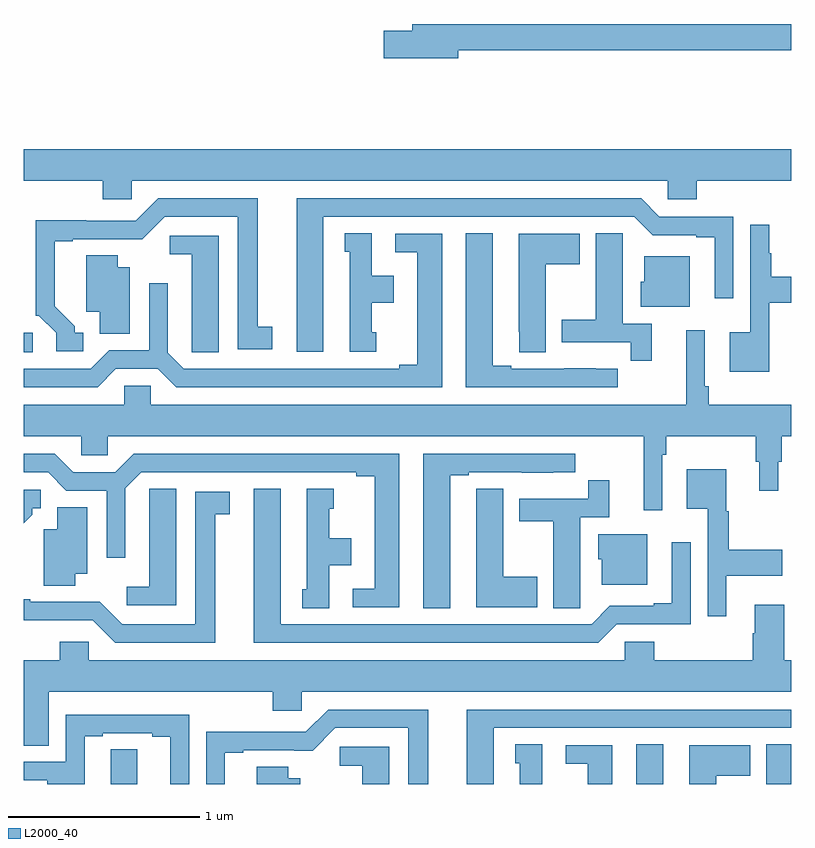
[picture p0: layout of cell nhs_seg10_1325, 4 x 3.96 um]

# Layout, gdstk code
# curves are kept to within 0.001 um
import gdstk
lib = gdstk.Library(unit=1e-6, precision=1e-09)
def R(c, l, rs):  # rectangles x0, y0, x1, y1
    for r in rs: c.add(gdstk.rectangle(r[:2], r[2:], *l))
def P(c, l, *ps):  # polygons
    for p in ps: c.add(gdstk.Polygon(p, *l))
L2000_40 = (2000, 40)

nhs_seg10_1325 = lib.new_cell('nhs_seg10_1325')
R(nhs_seg10_1325, L2000_40, [(182.192,1302.5,182.332,1302.707), (182.87,1302.5,183,1302.707), (179,1304.749,179.047,1304.85)])
P(nhs_seg10_1325, L2000_40, [(181.264,1306.324),(183,1306.324),(183,1306.46),(181.025,1306.46),(181.025,1306.424),(180.876,1306.424),(180.876,1306.282),(181.264,1306.282)],
  [(179.562,1305.644),(182.355,1305.644),(182.355,1305.546),(182.507,1305.546),(182.507,1305.644),(183,1305.644),(183,1305.808),(179,1305.808),(179,1305.644),(179.411,1305.644),(179.411,1305.546),(179.562,1305.546)],
  [(180.562,1305.456),(182.181,1305.456),(182.277,1305.36),(182.504,1305.36),(182.504,1305.348),(182.6,1305.348),(182.6,1305.03),(182.697,1305.03),(182.697,1305.456),(182.313,1305.456),(182.217,1305.552),(180.422,1305.552),(180.422,1304.751),(180.562,1304.751)],
  [(179.311,1304.85),(179.266,1304.85),(179.266,1304.885),(179.161,1304.99),(179.161,1305.327),(179.257,1305.327),(179.257,1305.339),(179.618,1305.338),(179.736,1305.456),(180.116,1305.456),(180.116,1304.766),(180.295,1304.766),(180.295,1304.882),(180.22,1304.882),(180.22,1305.552),(179.7,1305.552),(179.583,1305.435),(179.327,1305.435),(179.327,1305.437),(179.064,1305.437),(179.064,1304.94),(179.079,1304.94),(179.169,1304.85),(179.169,1304.754),(179.311,1304.754)],
  [(182.884,1305.008),(183,1305.008),(183,1305.142),(182.896,1305.142),(182.896,1305.266),(182.884,1305.266),(182.884,1305.415),(182.787,1305.415),(182.787,1304.854),(182.678,1304.854),(182.678,1304.648),(182.884,1304.648)],
  [(182.095,1304.664),(181.982,1304.664),(181.982,1304.665),(181.816,1304.665),(181.816,1304.664),(181.54,1304.664),(181.54,1304.679),(181.444,1304.679),(181.444,1305.371),(181.304,1305.371),(181.304,1304.568),(182.095,1304.568)],
  [(182.273,1304.898),(182.122,1304.898),(182.122,1305.26),(182.121,1305.26),(182.121,1305.371),(181.982,1305.371),(181.982,1304.919),(181.805,1304.919),(181.805,1304.802),(182.164,1304.802),(182.164,1304.706),(182.273,1304.706)],
  [(180.838,1304.853),(180.814,1304.853),(180.814,1305.008),(180.928,1305.008),(180.928,1305.148),(180.814,1305.148),(180.814,1305.371),(180.674,1305.371),(180.674,1305.273),(180.698,1305.273),(180.698,1304.751),(180.838,1304.751)],
  [(181.72,1305.208),(181.897,1305.208),(181.897,1305.367),(181.58,1305.367),(181.58,1304.857),(181.581,1304.857),(181.581,1304.749),(181.72,1304.749)],
  [(179.481,1304.664),(179.699,1304.664),(179.795,1304.568),(181.18,1304.568),(181.18,1305.366),(180.936,1305.366),(180.936,1305.27),(181.052,1305.27),(181.052,1304.684),(180.956,1304.684),(180.956,1304.664),(179.835,1304.664),(179.751,1304.748),(179.751,1305.109),(179.655,1305.109),(179.655,1304.76),(179.445,1304.76),(179.349,1304.664),(179,1304.664),(179,1304.568),(179.385,1304.568)],
  [(180.016,1305.357),(179.76,1305.357),(179.76,1305.26),(179.876,1305.26),(179.876,1304.857),(179.877,1304.857),(179.877,1304.749),(180.016,1304.749)],
  [(179.554,1305.193),(179.491,1305.193),(179.491,1305.254),(179.327,1305.254),(179.327,1304.96),(179.396,1304.96),(179.396,1304.845),(179.554,1304.845)],
  [(182.47,1305.25),(182.234,1305.25),(182.234,1305.117),(182.216,1305.117),(182.216,1304.987),(182.47,1304.987)],
  [(182.328,1304.216),(182.348,1304.216),(182.348,1304.312),(182.815,1304.312),(182.815,1304.178),(182.834,1304.178),(182.834,1304.028),(182.932,1304.028),(182.932,1304.178),(182.951,1304.178),(182.951,1304.312),(183,1304.312),(183,1304.476),(182.57,1304.476),(182.57,1304.572),(182.55,1304.572),(182.55,1304.863),(182.453,1304.863),(182.453,1304.476),(179.661,1304.476),(179.661,1304.574),(179.523,1304.574),(179.523,1304.476),(179,1304.476),(179,1304.312),(179.301,1304.312),(179.301,1304.214),(179.439,1304.214),(179.439,1304.312),(182.231,1304.312),(182.231,1303.926),(182.328,1303.926)],
  [(180.958,1304.22),(179.573,1304.22),(179.477,1304.124),(179.259,1304.124),(179.163,1304.22),(179,1304.22),(179,1304.124),(179.127,1304.124),(179.223,1304.028),(179.433,1304.028),(179.433,1303.68),(179.529,1303.68),(179.529,1304.04),(179.613,1304.124),(180.734,1304.124),(180.734,1304.104),(180.83,1304.104),(180.83,1303.518),(180.714,1303.518),(180.714,1303.422),(180.958,1303.422)],
  [(181.222,1304.109),(181.318,1304.109),(181.318,1304.124),(181.594,1304.124),(181.594,1304.123),(181.76,1304.123),(181.76,1304.124),(181.873,1304.124),(181.873,1304.22),(181.082,1304.22),(181.082,1303.417),(181.222,1303.417)],
  [(182.662,1303.586),(182.953,1303.586),(182.953,1303.721),(182.674,1303.721),(182.674,1303.92),(182.662,1303.92),(182.662,1304.14),(182.456,1304.14),(182.456,1303.934),(182.565,1303.934),(182.565,1303.374),(182.662,1303.374)],
  [(181.899,1303.528),(181.9,1303.528),(181.9,1303.89),(182.051,1303.89),(182.051,1304.083),(181.942,1304.083),(181.942,1303.986),(181.583,1303.986),(181.583,1303.87),(181.76,1303.87),(181.76,1303.417),(181.899,1303.417)],
  [(179.794,1304.039),(179.655,1304.039),(179.655,1303.931),(179.654,1303.931),(179.654,1303.528),(179.538,1303.528),(179.538,1303.431),(179.794,1303.431)],
  [(181.675,1303.581),(181.498,1303.581),(181.498,1304.039),(181.359,1304.039),(181.359,1303.931),(181.358,1303.931),(181.358,1303.421),(181.675,1303.421)],
  [(180.592,1303.64),(180.706,1303.64),(180.706,1303.78),(180.592,1303.78),(180.592,1303.935),(180.616,1303.935),(180.616,1304.038),(180.476,1304.038),(180.476,1303.515),(180.452,1303.515),(180.452,1303.417),(180.592,1303.417)],
  [(182.091,1303.332),(182.475,1303.332),(182.475,1303.759),(182.378,1303.759),(182.378,1303.441),(182.282,1303.441),(182.282,1303.428),(182.055,1303.428),(181.959,1303.332),(180.34,1303.332),(180.34,1304.038),(180.2,1304.038),(180.2,1303.236),(181.995,1303.236)],
  [(179.044,1303.903),(179.044,1303.938),(179.089,1303.938),(179.089,1304.034),(179,1304.034),(179,1303.859)],
  [(179.998,1303.906),(180.073,1303.906),(180.073,1304.022),(179.894,1304.022),(179.894,1303.332),(179.514,1303.332),(179.396,1303.45),(179.035,1303.449),(179.035,1303.462),(179,1303.462),(179,1303.352),(179.361,1303.353),(179.478,1303.236),(179.998,1303.236)],
  [(179.269,1303.595),(179.332,1303.595),(179.332,1303.943),(179.174,1303.943),(179.174,1303.828),(179.105,1303.828),(179.105,1303.534),(179.269,1303.534)],
  [(182.248,1303.801),(181.994,1303.801),(181.994,1303.671),(182.012,1303.671),(182.012,1303.538),(182.248,1303.538)],
  [(179.131,1302.98),(180.299,1302.98),(180.299,1302.882),(180.45,1302.882),(180.45,1302.98),(183,1302.98),(183,1303.144),(182.963,1303.144),(182.963,1303.435),(182.81,1303.435),(182.81,1303.286),(182.798,1303.286),(182.798,1303.144),(182.285,1303.144),(182.285,1303.242),(182.133,1303.242),(182.133,1303.144),(179.34,1303.144),(179.34,1303.242),(179.189,1303.242),(179.189,1303.144),(179,1303.144),(179,1302.7),(179.131,1302.7)],
  [(181.45,1302.792),(183,1302.792),(183,1302.888),(181.31,1302.888),(181.31,1302.5),(181.45,1302.5)],
  [(180.049,1302.663),(180.145,1302.663),(180.145,1302.675),(180.506,1302.674),(180.624,1302.792),(181.004,1302.792),(181.004,1302.5),(181.108,1302.5),(181.108,1302.888),(180.588,1302.888),(180.471,1302.771),(180.215,1302.771),(180.215,1302.773),(179.952,1302.773),(179.952,1302.5),(180.049,1302.5)],
  [(179.317,1302.75),(179.413,1302.75),(179.413,1302.765),(179.669,1302.765),(179.669,1302.745),(179.765,1302.745),(179.765,1302.5),(179.862,1302.5),(179.862,1302.861),(179.22,1302.861),(179.22,1302.615),(179,1302.615),(179,1302.519),(179.123,1302.519),(179.123,1302.518),(179.124,1302.518),(179.124,1302.5),(179.317,1302.5)],
  [(181.702,1302.707),(181.562,1302.707),(181.562,1302.609),(181.586,1302.609),(181.586,1302.5),(181.702,1302.5)],
  [(182.608,1302.544),(182.785,1302.544),(182.785,1302.703),(182.468,1302.703),(182.468,1302.5),(182.608,1302.5)],
  [(182.068,1302.702),(181.824,1302.702),(181.824,1302.606),(181.94,1302.606),(181.94,1302.5),(182.068,1302.5)],
  [(180.904,1302.693),(180.648,1302.693),(180.648,1302.596),(180.764,1302.596),(180.764,1302.5),(180.904,1302.5)],
  [(179.593,1302.68),(179.454,1302.68),(179.454,1302.572),(179.453,1302.572),(179.453,1302.5),(179.593,1302.5)],
  [(180.442,1302.529),(180.379,1302.529),(180.379,1302.59),(180.215,1302.59),(180.215,1302.5),(180.442,1302.5)])

lib.write_gds('nhs_seg10_1325.gds')
